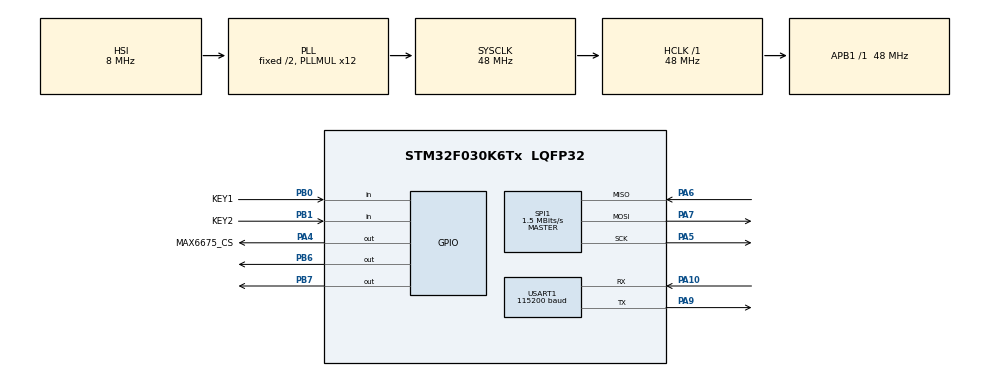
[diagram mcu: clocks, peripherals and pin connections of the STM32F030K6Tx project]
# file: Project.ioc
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Mcu.Family=STM32F0
Mcu.Name=STM32F030K6Tx
Mcu.Package=LQFP32
NVIC.TIM1_BRK_UP_TRG_COM_IRQn=true\:0\:0\:false\:false\:true\:true\:true\:true
NVIC.USART1_IRQn=true\:1\:0\:false\:false\:true\:true\:true\:true
PA10.Mode=Asynchronous
PA10.Signal=USART1_RX
PA13.Mode=Serial_Wire
PA13.Signal=SYS_SWDIO
PA14.Mode=Serial_Wire
PA14.Signal=SYS_SWCLK
PA4.GPIO_Label=MAX6675_CS
PA4.GPIO_Speed=GPIO_SPEED_FREQ_HIGH
PA4.PinState=GPIO_PIN_SET
PA4.Signal=GPIO_Output
PA5.GPIO_PuPd=GPIO_PULLUP
PA5.Mode=Full_Duplex_Master
PA5.Signal=SPI1_SCK
PA6.GPIO_PuPd=GPIO_PULLUP
PA6.Mode=Full_Duplex_Master
PA6.Signal=SPI1_MISO
PA7.GPIO_PuPd=GPIO_PULLUP
PA7.Mode=Full_Duplex_Master
PA7.Signal=SPI1_MOSI
PA9.Mode=Asynchronous
PA9.Signal=USART1_TX
PB0.GPIO_Label=KEY1
PB0.GPIO_PuPd=GPIO_PULLUP
PB0.Signal=GPIO_Input
PB1.GPIO_Label=KEY2
PB1.GPIO_PuPd=GPIO_PULLUP
PB1.Signal=GPIO_Input
PB6.GPIO_ModeDefaultOutputPP=GPIO_MODE_OUTPUT_OD
PB6.GPIO_PuPd=GPIO_NOPULL
PB6.GPIO_Speed=GPIO_SPEED_FREQ_HIGH
PB6.PinState=GPIO_PIN_SET
PB6.Signal=GPIO_Output
PB7.GPIO_ModeDefaultOutputPP=GPIO_MODE_OUTPUT_OD
PB7.GPIO_PuPd=GPIO_NOPULL
PB7.GPIO_Speed=GPIO_SPEED_FREQ_HIGH
PB7.PinState=GPIO_PIN_SET
PB7.Signal=GPIO_Output
PF0-OSC_IN.Mode=HSE-External-Oscillator
PF0-OSC_IN.Signal=RCC_OSC_IN
PF1-OSC_OUT.Mode=HSE-External-Oscillator
PF1-OSC_OUT.Signal=RCC_OSC_OUT
ProjectManager.HeapSize=0x200
ProjectManager.StackSize=0x400
ProjectManager.TargetToolchain=MDK-ARM V5.32
RCC.AHBFreq_Value=48000000
RCC.APB1Freq_Value=48000000
RCC.APB1TimFreq_Value=48000000
RCC.HCLKFreq_Value=48000000
RCC.PLLMUL=RCC_PLL_MUL12
RCC.SYSCLKFreq_VALUE=48000000
RCC.SYSCLKSource=RCC_SYSCLKSOURCE_PLLCLK
SPI1.BaudRatePrescaler=SPI_BAUDRATEPRESCALER_32
SPI1.CalculateBaudRate=1.5 MBits/s
SPI1.DataSize=SPI_DATASIZE_16BIT
SPI1.Direction=SPI_DIRECTION_2LINES
SPI1.Mode=SPI_MODE_MASTER
SPI1.NSSPMode=SPI_NSS_PULSE_DISABLE
SPI1.VirtualType=VM_MASTER
TIM1.Period=1000-1
TIM1.Prescaler=48-1
USART1.BaudRate=115200
USART1.VirtualMode-Asynchronous=VM_ASYNC
VP_TIM1_VS_ClockSourceINT.Mode=Internal
board=custom

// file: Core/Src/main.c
/* USER CODE BEGIN Header */
/**
  ******************************************************************************
  * @file           : main.c
  * @brief          : Main program body
  ******************************************************************************
  * @attention
  *
  * Copyright (c) 2026 STMicroelectronics.
  * All rights reserved.
  *
  * This software is licensed under terms that can be found in the LICENSE file
  * in the root directory of this software component.
  * If no LICENSE file comes with this software, it is provided AS-IS.
  *
  ******************************************************************************
  */
/* USER CODE END Header */
#include "main.h"
#include "spi.h"
#include "tim.h"
#include "usart.h"
#include "gpio.h"

/* USER CODE BEGIN Includes */
#include "oled.h"
#include "key.h"
#include "esp8266.h"
#include "onenet.h"
#include <string.h>
#include "MAX6675.h"
/* USER CODE END Includes */

void SystemClock_Config(void);

/* USER CODE BEGIN 0 */
uint8_t keynum;

uint8_t ledMode = 0;
uint8_t ledState = 0;
uint16_t light = 0;
float temp = 25.0f;
/* USER CODE END 0 */

int main(void)
{

  /* MCU Configuration--------------------------------------------------------*/

  /* Reset of all peripherals, Initializes the Flash interface and the Systick. */
  HAL_Init();

  /* Configure the system clock */
  SystemClock_Config();

  /* Initialize all configured peripherals */
  MX_GPIO_Init();
  MX_USART1_UART_Init();
  MX_SPI1_Init();
  MX_TIM1_Init();
  /* USER CODE BEGIN 2 */
	OLED_Init();
	unsigned char *mqtt_data;

	ESP8266_Init();
	while(OneNet_DevLink() != 0)
        HAL_Delay(1000);
    OneNET_Subscribe();
  /* USER CODE END 2 */

  /* Infinite loop */
  /* USER CODE BEGIN WHILE */
	uint32_t upload_tick = 0;
  while (1)
  {
		keynum = Key_GetNum();
		temp=MAX6675_ReadTemp();

	if(ESP8266_WaitRecive() == REV_OK)
	{
        mqtt_data = ESP8266_GetIPD(0);
        if(mqtt_data != NULL)
            OneNet_RevPro(mqtt_data);
		ESP8266_Clear();
	}

	if(HAL_GetTick() - upload_tick > 2000)
	{
		upload_tick = HAL_GetTick();
		OneNet_SendData();
	}

	HAL_Delay(200);
    /* USER CODE END WHILE */

  }
}

void SystemClock_Config(void)
{
  RCC_OscInitTypeDef RCC_OscInitStruct = {0};
  RCC_ClkInitTypeDef RCC_ClkInitStruct = {0};
  RCC_PeriphCLKInitTypeDef PeriphClkInit = {0};

  /** Initializes the RCC Oscillators according to the specified parameters
  * in the RCC_OscInitTypeDef structure.
  */
  RCC_OscInitStruct.OscillatorType = RCC_OSCILLATORTYPE_HSI;
  RCC_OscInitStruct.HSIState = RCC_HSI_ON;
  RCC_OscInitStruct.HSICalibrationValue = RCC_HSICALIBRATION_DEFAULT;
  RCC_OscInitStruct.PLL.PLLState = RCC_PLL_ON;
  RCC_OscInitStruct.PLL.PLLSource = RCC_PLLSOURCE_HSI;
  RCC_OscInitStruct.PLL.PLLMUL = RCC_PLL_MUL12;
  RCC_OscInitStruct.PLL.PREDIV = RCC_PREDIV_DIV1;
  if (HAL_RCC_OscConfig(&RCC_OscInitStruct) != HAL_OK)
  {
    Error_Handler();
  }

  /** Initializes the CPU, AHB and APB buses clocks
  */
  RCC_ClkInitStruct.ClockType = RCC_CLOCKTYPE_HCLK|RCC_CLOCKTYPE_SYSCLK
                              |RCC_CLOCKTYPE_PCLK1;
  RCC_ClkInitStruct.SYSCLKSource = RCC_SYSCLKSOURCE_PLLCLK;
  RCC_ClkInitStruct.AHBCLKDivider = RCC_SYSCLK_DIV1;
  RCC_ClkInitStruct.APB1CLKDivider = RCC_HCLK_DIV1;

  if (HAL_RCC_ClockConfig(&RCC_ClkInitStruct, FLASH_LATENCY_1) != HAL_OK)
  {
    Error_Handler();
  }
  PeriphClkInit.PeriphClockSelection = RCC_PERIPHCLK_USART1;
  PeriphClkInit.Usart1ClockSelection = RCC_USART1CLKSOURCE_PCLK1;
  if (HAL_RCCEx_PeriphCLKConfig(&PeriphClkInit) != HAL_OK)
  {
    Error_Handler();
  }
}

void Error_Handler(void)
{
  __disable_irq();
  while (1)
  {
  }
}
